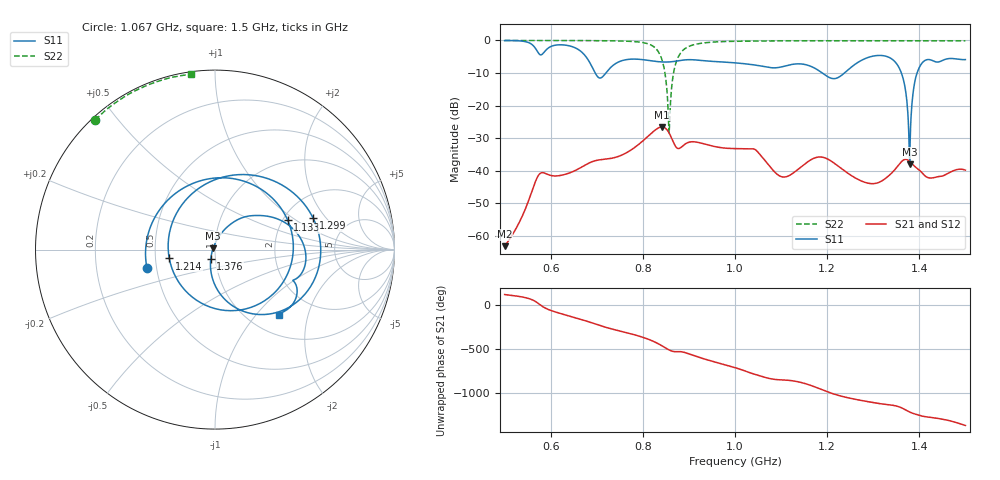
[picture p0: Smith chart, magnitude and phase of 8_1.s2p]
! TOUCHSTONE file generated by CST MICROWAVE STUDIO
! Date and time: Sat Nov 14 20:33:18 2020
! Project name: Scenario_1_Planar_Body_Tissue_Out_of_Line_v2.cst
! Parameters = {dy1=224.9; L_HA=400; Ltissue=700; MT=2.54; Rad_Dielectric=30; Rad_Lower=7.3; Rad_Upper=30; Wtissue=700; a_HA=580; a_WG=246; b_HA=500; b_WG=121; c_HA=0; c_WG=187; d_feed=85; dx1=173; h_feed=15; h_lower=18; h_upper=40; hfat=3; hgap=25; hmuscle=50; hskin=1.5}
! Header version: 2018
! Port assignment regex: !\s*Touchstone port\s*([0-9]+)\s*=\s*(CST MWS port|CST DS port)\s*([0-9]+|Zmin|Zmax)\s*\(\"(.*)\"\)(\s*mode\s*([0-9]+))?.*
! Touchstone port assignment:
! Touchstone port 1 = CST MWS port 1 ("")
! Touchstone port 2 = CST MWS port 2 ("")
# GHz S DB R 50
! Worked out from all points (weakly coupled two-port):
!   1003 points, 500 MHz to 1.5 GHz, reference 50 ohm
!   highest |S21| = -26.52 dB at 842 MHz (marker M1); lowest = -63.1 dB at 500 MHz (marker M2)
!   lowest |S11| = -38.0 dB at 1.379 GHz (marker M3), VSWR 1.03, Z = 48.9 + j0.642 ohm
!   |S11| at or under -10 dB: 696.7 MHz to 719.6 MHz (22.93 MHz wide, 3.24 % of centre); 1.19 GHz to 1.237 GHz (47.83 MHz wide, 3.94 % of centre); 1.361 GHz to 1.395 GHz (33.98 MHz wide, 2.47 % of centre)
!   |S22| runs from -28.4 to 0.0 dB; largest |S21 - S12| = 2.1e-05
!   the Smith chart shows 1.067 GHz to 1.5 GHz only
!   S11 on the Smith chart (normalised r, x): 1.067 GHz: 0.44, -0.11; 1.133 GHz: 2.12, +0.86; 1.214 GHz: 0.59, -0.06; 1.299 GHz: 2.83, +1.49; 1.376 GHz: 0.95, -0.10; 1.5 GHz: 1.36, -1.33
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0.5  -0.05 -121.8  -63.09 123.0  -63.09 123.0  -0.01 151.1
0.576  -4.29 -161.3  -40.92 9.8  -40.92 9.8  -0.02 145.9
0.667  -3.53 111.9  -38.84 -163.3  -38.84 -163.3  -0.04 138.4
0.695  -9.56 26.5  -36.94 148.1  -36.94 148.1  -0.06 135.4
0.722  -9.58 -103.4  -36.36 103.6  -36.36 103.6  -0.10 132.0
0.766  -5.85 158.3  -34.32 44.4  -34.32 44.4  -0.23 124.0
0.834  -6.52 23.0  -26.82 -81.9  -26.82 -81.9  -3.54 82.2
0.842  -6.60 3.4  -26.52 -105.9  -26.52 -105.9  -6.17 68.0
0.857  -6.59 -35.9  -28.40 -151.9  -28.40 -151.9  -28.42 -47.0
0.906  -5.91 -177.9  -31.07 152.2  -31.07 152.2  -1.50 164.2
0.944  -6.35 85.6  -32.15 88.3  -32.15 88.3  -0.59 150.3
1  -6.87 -24.1  -33.16 5.6  -33.16 5.6  -0.26 140.1
1.067  -8.12 -165.0  -37.14 -109.0  -37.14 -109.0  -0.16 132.7
1.133  -7.19 22.1  -39.95 -152.3  -39.95 -152.3  -0.11 126.9
1.167  -8.09 -47.8  -36.42 157.3  -36.42 157.3  -0.10 124.2
1.214  -11.72 -169.1  -37.51 64.0  -37.51 64.0  -0.09 120.6
1.299  -4.82 17.9  -43.92 -34.0  -43.92 -34.0  -0.08 114.2
1.334  -5.18 -29.4  -41.46 -59.6  -41.46 -59.6  -0.08 111.5
1.376  -24.55 -114.0  -36.76 -135.3  -36.76 -135.3  -0.09 108.3
1.379  -37.96 148.8  -37.11 -143.0  -37.11 -143.0  -0.09 108.0
1.406  -6.92 14.7  -40.59 170.2  -40.59 170.2  -0.09 105.9
1.5  -5.87 -45.6  -39.77 63.1  -39.77 63.1  -0.13 97.9
